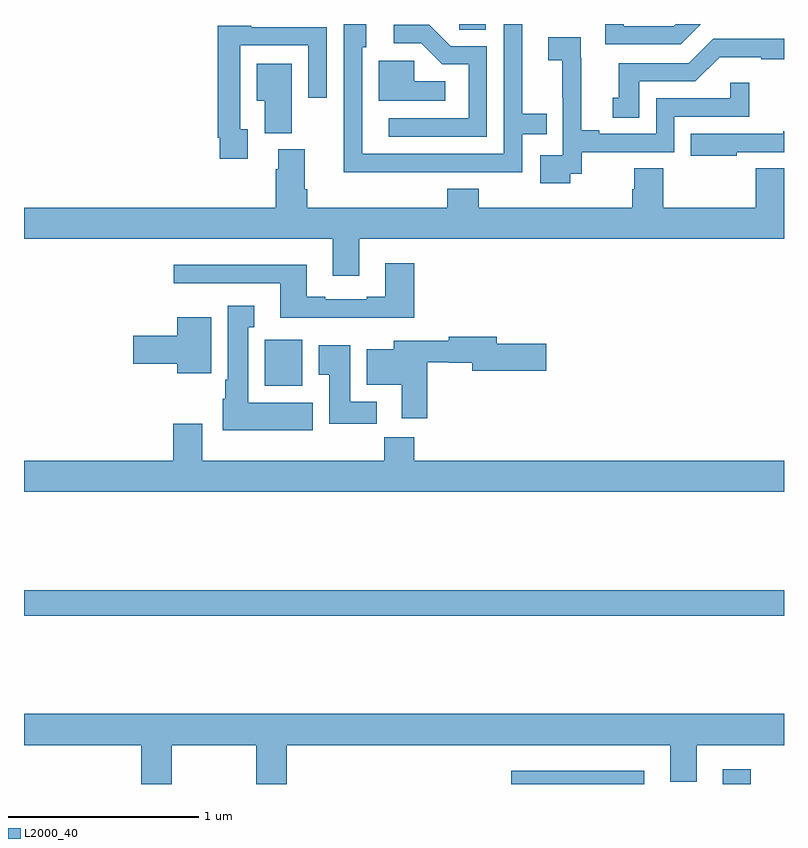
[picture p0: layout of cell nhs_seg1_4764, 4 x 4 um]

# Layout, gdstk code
import gdstk
lib = gdstk.Library(unit=1e-6, precision=1e-09)
def R(c, l, rs):  # rectangles x0, y0, x1, y1
    for r in rs: c.add(gdstk.rectangle(r[:2], r[2:], *l))
def P(c, l, *ps):  # polygons
    for p in ps: c.add(gdstk.Polygon(p, *l))
L2000_40 = (2000, 40)

nhs_seg1_4764 = lib.new_cell('nhs_seg1_4764')
R(nhs_seg1_4764, L2000_40, [(371.565,546.199,372.265,546.268), (372.677,546.199,372.825,546.277), (369,547.084,373,547.22), (370.268,548.294,370.465,548.536), (371.292,550.168,371.431,550.199)])
P(nhs_seg1_4764, L2000_40, [(372.563,550.199),(372.431,550.199),(372.42,550.188),(372.156,550.188),(372.156,550.199),(372.06,550.199),(372.06,550.092),(372.456,550.092)],
  [(371.144,549.42),(371.622,549.42),(371.622,549.618),(371.75,549.618),(371.75,549.727),(371.623,549.727),(371.623,550.199),(371.526,550.199),(371.526,549.516),(370.779,549.516),(370.779,550.077),(370.801,550.077),(370.801,550.199),(370.683,550.199),(370.683,549.722),(370.682,549.722),(370.682,549.419),(371.144,549.419)],
  [(371.436,550.083),(371.247,550.083),(371.134,550.196),(370.947,550.196),(370.947,550.098),(371.091,550.098),(371.202,549.987),(371.34,549.987),(371.34,549.702),(370.92,549.702),(370.92,549.606),(371.436,549.606)],
  [(370.177,549.645),(370.137,549.645),(370.137,550.086),(370.497,550.086),(370.497,549.81),(370.593,549.81),(370.593,550.182),(370.197,550.182),(370.197,550.189),(370.021,550.189),(370.021,549.601),(370.029,549.601),(370.029,549.489),(370.177,549.489)],
  [(371.874,549.411),(371.936,549.411),(371.936,549.525),(372.423,549.525),(372.423,549.711),(372.818,549.711),(372.818,549.889),(372.717,549.889),(372.717,549.807),(372.327,549.807),(372.327,549.621),(372.028,549.621),(372.028,549.641),(371.932,549.641),(371.932,550.019),(371.93,550.019),(371.93,550.13),(371.76,550.13),(371.76,550.009),(371.834,550.009),(371.834,549.811),(371.835,549.811),(371.835,549.507),(371.718,549.507),(371.718,549.36),(371.874,549.36)],
  [(372.238,549.897),(372.534,549.897),(372.662,550.025),(372.881,550.025),(372.881,550.014),(373,550.014),(373,550.122),(372.627,550.122),(372.498,549.993),(372.131,549.993),(372.131,549.81),(372.098,549.81),(372.098,549.706),(372.238,549.706)],
  [(371.218,549.898),(371.055,549.898),(371.055,550.005),(370.868,550.005),(370.868,549.794),(371.218,549.794)],
  [(370.408,549.991),(370.226,549.991),(370.226,549.794),(370.268,549.794),(370.268,549.625),(370.408,549.625)],
  [(372.751,549.525),(373,549.525),(373,549.634),(372.995,549.634),(372.995,549.621),(372.508,549.621),(372.508,549.506),(372.751,549.506)],
  [(373,549.44),(372.851,549.44),(372.851,549.232),(372.365,549.232),(372.365,549.44),(372.212,549.44),(372.212,549.33),(372.2,549.33),(372.2,549.232),(371.393,549.232),(371.393,549.331),(371.228,549.331),(371.228,549.232),(370.49,549.232),(370.49,549.328),(370.477,549.328),(370.477,549.54),(370.337,549.54),(370.337,549.434),(370.325,549.434),(370.325,549.232),(369,549.232),(369,549.068),(370.625,549.068),(370.625,548.874),(370.765,548.874),(370.765,549.068),(373,549.068)],
  [(371.054,548.941),(370.901,548.941),(370.901,548.764),(370.805,548.764),(370.805,548.751),(370.585,548.751),(370.585,548.764),(370.489,548.764),(370.489,548.932),(369.789,548.932),(369.789,548.835),(370.349,548.835),(370.349,548.654),(371.054,548.654)],
  [(370.519,548.206),(370.18,548.206),(370.18,548.603),(370.213,548.603),(370.213,548.716),(370.073,548.716),(370.073,548.326),(370.058,548.326),(370.058,548.226),(370.046,548.226),(370.046,548.06),(370.519,548.06)],
  [(369.985,548.656),(369.806,548.656),(369.806,548.558),(369.576,548.558),(369.576,548.411),(369.806,548.411),(369.806,548.36),(369.985,548.36)],
  [(371.123,548.42),(371.235,548.42),(371.235,548.416),(371.36,548.416),(371.36,548.374),(371.749,548.374),(371.749,548.516),(371.488,548.516),(371.488,548.552),(371.235,548.552),(371.235,548.532),(370.946,548.532),(370.946,548.488),(370.805,548.488),(370.805,548.3),(370.988,548.3),(370.988,548.124),(371.123,548.124)],
  [(370.856,548.212),(370.717,548.212),(370.717,548.509),(370.55,548.509),(370.55,548.353),(370.607,548.353),(370.607,548.094),(370.856,548.094)],
  [(373,547.9),(371.054,547.9),(371.054,548.024),(370.897,548.024),(370.897,547.9),(369.937,547.9),(369.937,548.095),(369.785,548.095),(369.785,547.9),(369,547.9),(369,547.736),(373,547.736)],
  [(369.777,546.404),(370.222,546.404),(370.222,546.199),(370.382,546.199),(370.382,546.404),(372.401,546.404),(372.401,546.21),(372.541,546.21),(372.541,546.404),(373,546.404),(373,546.568),(369,546.568),(369,546.404),(369.617,546.404),(369.617,546.199),(369.777,546.199)])

lib.write_gds('nhs_seg1_4764.gds')
